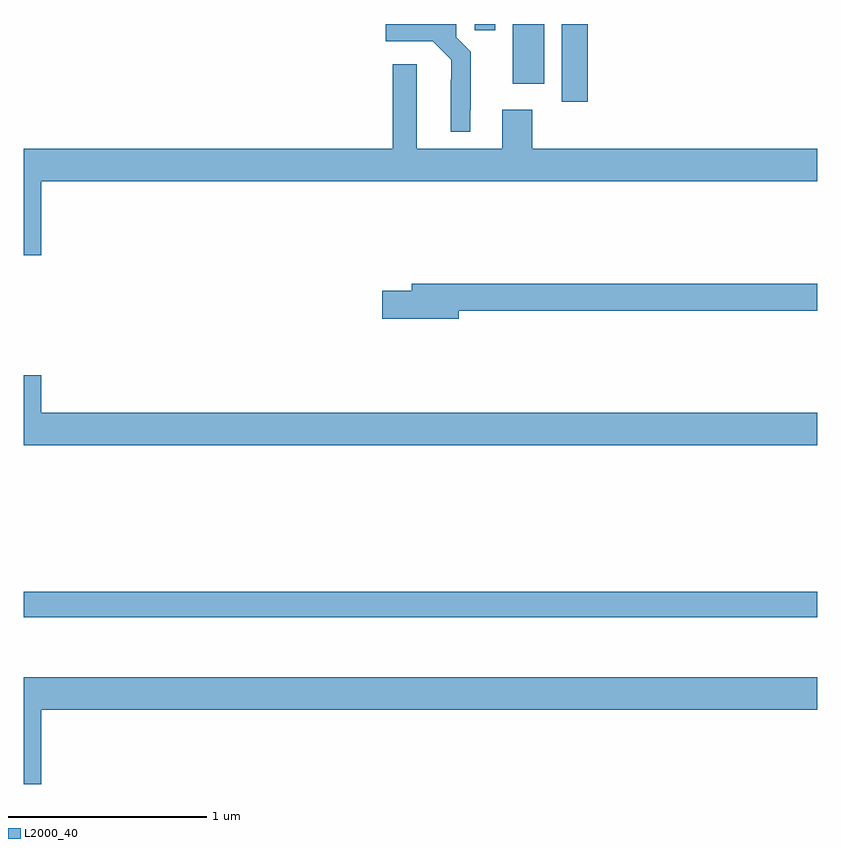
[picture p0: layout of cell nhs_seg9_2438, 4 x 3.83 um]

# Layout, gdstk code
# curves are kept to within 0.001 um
import gdstk
lib = gdstk.Library(unit=1e-6, precision=1e-09)
def R(c, l, rs):  # rectangles x0, y0, x1, y1
    for r in rs: c.add(gdstk.rectangle(r[:2], r[2:], *l))
def P(c, l, *ps):  # polygons
    for p in ps: c.add(gdstk.Polygon(p, *l))
L2000_40 = (2000, 40)

nhs_seg9_2438 = lib.new_cell('nhs_seg9_2438')
R(nhs_seg9_2438, L2000_40, [(249,1239.51,253,1239.638), (251.711,1242.108,251.843,1242.5), (251.465,1242.198,251.623,1242.5), (251.273,1242.468,251.377,1242.5)])
P(nhs_seg9_2438, L2000_40, [(251.251,1242.067),(251.254,1242.067),(251.254,1242.359),(251.181,1242.432),(251.181,1242.5),(250.824,1242.5),(250.824,1242.413),(251.061,1242.413),(251.154,1242.32),(251.153,1241.957),(251.251,1241.957)],
  [(249.088,1241.708),(253,1241.708),(253,1241.872),(251.564,1241.872),(251.564,1242.067),(251.411,1242.067),(251.411,1241.872),(250.981,1241.872),(250.981,1242.298),(250.859,1242.298),(250.859,1241.872),(249,1241.872),(249,1241.334),(249.088,1241.334)],
  [(251.194,1241.056),(253,1241.056),(253,1241.192),(250.955,1241.192),(250.955,1241.156),(250.806,1241.156),(250.806,1241.014),(251.194,1241.014)],
  [(253,1240.54),(249.088,1240.54),(249.088,1240.729),(249,1240.729),(249,1240.376),(253,1240.376)],
  [(249.088,1239.044),(253,1239.044),(253,1239.208),(249,1239.208),(249,1238.67),(249.088,1238.67)])

lib.write_gds('nhs_seg9_2438.gds')
